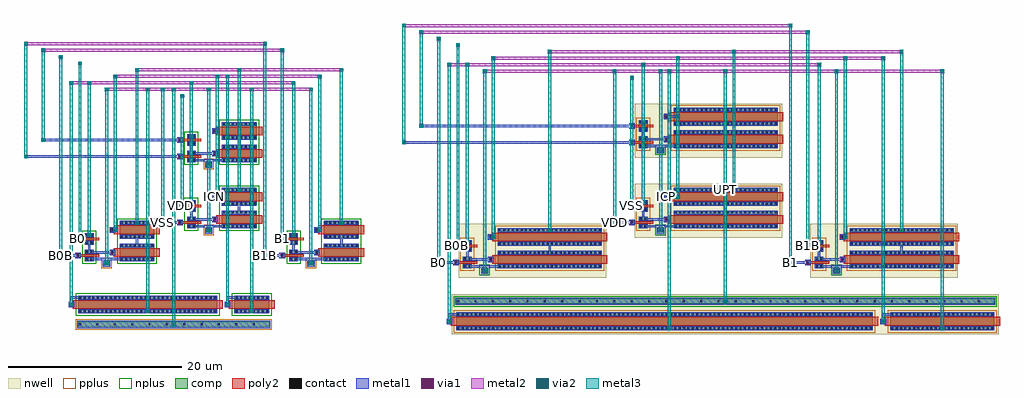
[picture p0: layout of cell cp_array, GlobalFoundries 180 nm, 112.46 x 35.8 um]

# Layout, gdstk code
import gdstk
lib = gdstk.Library(unit=1e-6, precision=1e-09)
def R(c, l, rs):  # rectangles x0, y0, x1, y1
    for r in rs: c.add(gdstk.rectangle(r[:2], r[2:], *l))
def A(c, l, x, y, w, h, nx, ny, dx, dy):  # array of equal rectangles
    R(c, l, [(x+i*dx, y+j*dy, x+i*dx+w, y+j*dy+h) for i in range(nx) for j in range(ny)])
nwell = (21, 0)
comp = (22, 0)
poly2 = (30, 0)
pplus = (31, 0)
nplus = (32, 0)
contact = (33, 0)
metal1 = (34, 0)
via1 = (35, 0)
metal2 = (36, 0)
via2 = (38, 0)
metal3 = (42, 0)

cp_array = lib.new_cell('cp_array')
R(cp_array, nwell, [(30.52,-12.245,93.52,-7.645), (31.29,-5.745,48.29,0.485), (71.83,-5.745,88.83,0.485), (51.56,-1.13,68.56,5.1), (51.56,8.1,68.56,14.33)])
R(cp_array, comp, [(31.02,-11.745,79.02,-9.745), (81.02,-11.745,93.02,-9.745), (-12.54,-11.4,9.46,-10.8), (-12.54,-9.8,3.46,-7.8), (5.46,-9.8,9.46,-7.8), (31.02,-8.745,93.02,-8.145), (33.99,-5.125,34.59,-4.525), (74.53,-5.125,75.13,-4.525), (31.79,-4.615,32.79,-3.315), (35.79,-4.615,47.79,-2.615), (72.33,-4.615,73.33,-3.315), (76.33,-4.615,88.33,-2.615), (-9.57,-4.31,-8.97,-3.71), (13.97,-4.31,14.57,-3.71), (-11.77,-3.8,-10.77,-2.5), (-7.77,-3.8,-3.77,-1.8), (11.77,-3.8,12.77,-2.5), (15.77,-3.8,19.77,-1.8), (31.79,-2.715,32.79,-1.415), (72.33,-2.715,73.33,-1.415), (35.79,-2.015,47.79,-0.015), (76.33,-2.015,88.33,-0.015), (-11.77,-1.9,-10.77,-0.6), (11.77,-1.9,12.77,-0.6), (-7.77,-1.2,-3.77,0.8), (15.77,-1.2,19.77,0.8), (2.2,-0.51,2.8,0.09), (54.26,-0.51,54.86,0.09), (0,0,1,1.3), (4,0,8,2), (52.06,0,53.06,1.3), (56.06,0,68.06,2), (0,1.9,1,3.2), (52.06,1.9,53.06,3.2), (4,2.6,8,4.6), (56.06,2.6,68.06,4.6), (2.2,7.09,2.8,7.69), (0,7.6,1,8.9), (4,7.6,8,9.6), (54.26,8.72,54.86,9.32), (52.06,9.23,53.06,10.53), (56.06,9.23,68.06,11.23), (0,9.5,1,10.8), (4,10.2,8,12.2), (52.06,11.13,53.06,12.43), (56.06,11.83,68.06,13.83)])
R(cp_array, poly2, [(30.37,-11.245,79.67,-10.245), (80.37,-11.245,93.67,-10.245), (30.02,-10.945,30.42,-10.545), (80.02,-10.945,80.42,-10.545), (-13.19,-9.3,4.11,-8.3), (4.81,-9.3,10.11,-8.3), (-13.54,-9,-13.14,-8.6), (4.46,-9,4.86,-8.6), (30.79,-4.165,31.19,-3.765), (71.33,-4.165,71.73,-3.765), (31.14,-4.115,33.44,-3.815), (35.14,-4.115,48.44,-3.115), (71.68,-4.115,73.98,-3.815), (75.68,-4.115,88.98,-3.115), (34.79,-3.815,35.19,-3.415), (75.33,-3.815,75.73,-3.415), (-12.77,-3.35,-12.37,-2.95), (10.77,-3.35,11.17,-2.95), (-12.42,-3.3,-10.12,-3), (-8.42,-3.3,-3.12,-2.3), (11.12,-3.3,13.42,-3), (15.12,-3.3,20.42,-2.3), (-8.77,-3,-8.37,-2.6), (14.77,-3,15.17,-2.6), (30.79,-2.265,31.19,-1.865), (71.33,-2.265,71.73,-1.865), (31.14,-2.215,33.44,-1.915), (71.68,-2.215,73.98,-1.915), (35.14,-1.515,48.44,-0.515), (75.68,-1.515,88.98,-0.515), (-12.77,-1.45,-12.37,-1.05), (10.77,-1.45,11.17,-1.05), (-12.42,-1.4,-10.12,-1.1), (11.12,-1.4,13.42,-1.1), (34.79,-1.215,35.19,-0.815), (75.33,-1.215,75.73,-0.815), (-8.42,-0.7,-3.12,0.3), (15.12,-0.7,20.42,0.3), (-8.77,-0.4,-8.37,0), (14.77,-0.4,15.17,0), (-1,0.45,-0.6,0.85), (51.06,0.45,51.46,0.85), (-0.65,0.5,1.65,0.8), (3.35,0.5,8.65,1.5), (51.41,0.5,53.71,0.8), (55.41,0.5,68.71,1.5), (3,0.8,3.4,1.2), (55.06,0.8,55.46,1.2), (-1,2.35,-0.6,2.75), (51.06,2.35,51.46,2.75), (-0.65,2.4,1.65,2.7), (51.41,2.4,53.71,2.7), (3.35,3.1,8.65,4.1), (55.41,3.1,68.71,4.1), (3,3.4,3.4,3.8), (55.06,3.4,55.46,3.8), (-1,8.05,-0.6,8.45), (-0.65,8.1,1.65,8.4), (3.35,8.1,8.65,9.1), (3,8.4,3.4,8.8), (51.06,9.68,51.46,10.08), (51.41,9.73,53.71,10.03), (55.41,9.73,68.71,10.73), (-1,9.95,-0.6,10.35), (-0.65,10,1.65,10.3), (55.06,10.03,55.46,10.43), (3.35,10.7,8.65,11.7), (3,11,3.4,11.4), (51.06,11.58,51.46,11.98), (51.41,11.63,53.71,11.93), (55.41,12.33,68.71,13.33), (55.06,12.63,55.46,13.03)])
R(cp_array, pplus, [(30.72,-12.045,79.32,-9.445), (80.72,-12.045,93.32,-9.445), (-12.84,-11.7,9.76,-10.5), (31.49,-4.915,33.09,-3.015), (35.49,-4.915,48.09,-2.315), (72.03,-4.915,73.63,-3.015), (76.03,-4.915,88.63,-2.315), (-9.87,-4.61,-8.67,-3.41), (13.67,-4.61,14.87,-3.41), (31.49,-3.015,33.09,-1.115), (72.03,-3.015,73.63,-1.115), (35.49,-2.315,48.09,0.285), (76.03,-2.315,88.63,0.285), (1.9,-0.81,3.1,0.39), (51.76,-0.3,53.36,1.6), (55.76,-0.3,68.36,2.3), (51.76,1.6,53.36,3.5), (55.76,2.3,68.36,4.9), (1.9,6.79,3.1,7.99), (51.76,8.93,53.36,10.83), (55.76,8.93,68.36,11.53), (51.76,10.83,53.36,12.73), (55.76,11.53,68.36,14.13)])
R(cp_array, nplus, [(-12.84,-10.1,3.76,-7.5), (5.16,-10.1,9.76,-7.5), (30.72,-9.045,93.32,-7.845), (33.69,-5.425,34.89,-4.225), (74.23,-5.425,75.43,-4.225), (-12.07,-4.1,-10.47,-2.2), (-8.07,-4.1,-3.47,-1.5), (11.47,-4.1,13.07,-2.2), (15.47,-4.1,20.07,-1.5), (-12.07,-2.2,-10.47,-0.3), (11.47,-2.2,13.07,-0.3), (-8.07,-1.5,-3.47,1.1), (15.47,-1.5,20.07,1.1), (53.96,-0.81,55.16,0.39), (-0.3,-0.3,1.3,1.6), (3.7,-0.3,8.3,2.3), (-0.3,1.6,1.3,3.5), (3.7,2.3,8.3,4.9), (-0.3,7.3,1.3,9.2), (3.7,7.3,8.3,9.9), (53.96,8.42,55.16,9.62), (-0.3,9.2,1.3,11.1), (3.7,9.9,8.3,12.5)])
A(cp_array, contact, 31.16, -11.645, 0.22, 0.22, 96, 2, 0.5, 1.58)
A(cp_array, contact, 81.16, -11.645, 0.22, 0.22, 24, 2, 0.5, 1.58)
A(cp_array, contact, -12.44, -11.21, 0.22, 0.22, 11, 1, 2, 0)
A(cp_array, contact, -12.4, -9.7, 0.22, 0.22, 32, 2, 0.5, 1.58)
A(cp_array, contact, 5.6, -9.7, 0.22, 0.22, 8, 2, 0.5, 1.58)
A(cp_array, contact, 31.12, -8.555, 0.22, 0.22, 31, 1, 2, 0)
A(cp_array, contact, 35.93, -4.515, 0.22, 0.22, 24, 2, 0.5, 1.58)
A(cp_array, contact, 76.47, -4.515, 0.22, 0.22, 24, 2, 0.5, 1.58)
A(cp_array, contact, -7.63, -3.7, 0.22, 0.22, 8, 2, 0.5, 1.58)
A(cp_array, contact, 15.91, -3.7, 0.22, 0.22, 8, 2, 0.5, 1.58)
A(cp_array, contact, 35.93, -1.915, 0.22, 0.22, 24, 2, 0.5, 1.58)
A(cp_array, contact, 76.47, -1.915, 0.22, 0.22, 24, 2, 0.5, 1.58)
A(cp_array, contact, -7.63, -1.1, 0.22, 0.22, 8, 2, 0.5, 1.58)
A(cp_array, contact, 15.91, -1.1, 0.22, 0.22, 8, 2, 0.5, 1.58)
A(cp_array, contact, 4.14, 0.1, 0.22, 0.22, 8, 2, 0.5, 1.58)
A(cp_array, contact, 56.2, 0.1, 0.22, 0.22, 24, 2, 0.5, 1.58)
A(cp_array, contact, 4.14, 2.7, 0.22, 0.22, 8, 2, 0.5, 1.58)
A(cp_array, contact, 56.2, 2.7, 0.22, 0.22, 24, 2, 0.5, 1.58)
A(cp_array, contact, 4.14, 7.7, 0.22, 0.22, 8, 2, 0.5, 1.58)
A(cp_array, contact, 56.2, 9.33, 0.22, 0.22, 24, 2, 0.5, 1.58)
A(cp_array, contact, 4.14, 10.3, 0.22, 0.22, 8, 2, 0.5, 1.58)
A(cp_array, contact, 56.2, 11.93, 0.22, 0.22, 24, 2, 0.5, 1.58)
R(cp_array, contact, [(30.11,-10.855,30.33,-10.635), (80.11,-10.855,80.33,-10.635), (-13.45,-8.91,-13.23,-8.69), (4.55,-8.91,4.77,-8.69), (34.18,-4.935,34.4,-4.715), (74.72,-4.935,74.94,-4.715), (31.93,-4.515,32.15,-4.295), (32.43,-4.515,32.65,-4.295), (72.47,-4.515,72.69,-4.295), (72.97,-4.515,73.19,-4.295), (-9.38,-4.12,-9.16,-3.9), (14.16,-4.12,14.38,-3.9), (30.88,-4.075,31.1,-3.855), (71.42,-4.075,71.64,-3.855), (34.88,-3.725,35.1,-3.505), (75.42,-3.725,75.64,-3.505), (-11.63,-3.7,-11.41,-3.48), (-11.13,-3.7,-10.91,-3.48), (11.91,-3.7,12.13,-3.48), (12.41,-3.7,12.63,-3.48), (31.93,-3.635,32.15,-3.415), (32.43,-3.635,32.65,-3.415), (72.47,-3.635,72.69,-3.415), (72.97,-3.635,73.19,-3.415), (-12.68,-3.26,-12.46,-3.04), (10.86,-3.26,11.08,-3.04), (-8.68,-2.91,-8.46,-2.69), (14.86,-2.91,15.08,-2.69), (-11.63,-2.82,-11.41,-2.6), (-11.13,-2.82,-10.91,-2.6), (11.91,-2.82,12.13,-2.6), (12.41,-2.82,12.63,-2.6), (31.93,-2.615,32.15,-2.395), (32.43,-2.615,32.65,-2.395), (72.47,-2.615,72.69,-2.395), (72.97,-2.615,73.19,-2.395), (30.88,-2.175,31.1,-1.955), (71.42,-2.175,71.64,-1.955), (-11.63,-1.8,-11.41,-1.58), (-11.13,-1.8,-10.91,-1.58), (11.91,-1.8,12.13,-1.58), (12.41,-1.8,12.63,-1.58), (31.93,-1.735,32.15,-1.515), (32.43,-1.735,32.65,-1.515), (72.47,-1.735,72.69,-1.515), (72.97,-1.735,73.19,-1.515), (-12.68,-1.36,-12.46,-1.14), (10.86,-1.36,11.08,-1.14), (34.88,-1.125,35.1,-0.905), (75.42,-1.125,75.64,-0.905), (-11.63,-0.92,-11.41,-0.7), (-11.13,-0.92,-10.91,-0.7), (11.91,-0.92,12.13,-0.7), (12.41,-0.92,12.63,-0.7), (2.39,-0.32,2.61,-0.1), (54.45,-0.32,54.67,-0.1), (-8.68,-0.31,-8.46,-0.09), (14.86,-0.31,15.08,-0.09), (0.14,0.1,0.36,0.32), (0.64,0.1,0.86,0.32), (52.2,0.1,52.42,0.32), (52.7,0.1,52.92,0.32), (-0.91,0.54,-0.69,0.76), (51.15,0.54,51.37,0.76), (3.09,0.89,3.31,1.11), (55.15,0.89,55.37,1.11), (0.14,0.98,0.36,1.2), (0.64,0.98,0.86,1.2), (52.2,0.98,52.42,1.2), (52.7,0.98,52.92,1.2), (0.14,2,0.36,2.22), (0.64,2,0.86,2.22), (52.2,2,52.42,2.22), (52.7,2,52.92,2.22), (-0.91,2.44,-0.69,2.66), (51.15,2.44,51.37,2.66), (0.14,2.88,0.36,3.1), (0.64,2.88,0.86,3.1), (52.2,2.88,52.42,3.1), (52.7,2.88,52.92,3.1), (3.09,3.49,3.31,3.71), (55.15,3.49,55.37,3.71), (2.39,7.28,2.61,7.5), (0.14,7.7,0.36,7.92), (0.64,7.7,0.86,7.92), (-0.91,8.14,-0.69,8.36), (3.09,8.49,3.31,8.71), (0.14,8.58,0.36,8.8), (0.64,8.58,0.86,8.8), (54.45,8.91,54.67,9.13), (52.2,9.33,52.42,9.55), (52.7,9.33,52.92,9.55), (0.14,9.6,0.36,9.82), (0.64,9.6,0.86,9.82), (51.15,9.77,51.37,9.99), (-0.91,10.04,-0.69,10.26), (55.15,10.12,55.37,10.34), (52.2,10.21,52.42,10.43), (52.7,10.21,52.92,10.43), (0.14,10.48,0.36,10.7), (0.64,10.48,0.86,10.7), (3.09,11.09,3.31,11.31), (52.2,11.23,52.42,11.45), (52.7,11.23,52.92,11.45), (51.15,11.67,51.37,11.89), (52.2,12.11,52.42,12.33), (52.7,12.11,52.92,12.33), (55.15,12.72,55.37,12.94)])
R(cp_array, metal1, [(31.04,-11.765,79,-11.305), (81.04,-11.765,93,-11.305), (55.34,-11.755,55.78,-11.315), (86.8,-11.755,87.24,-11.315), (55.02,-11.675,55.56,-11.395), (-12.66,-11.52,9.58,-10.68), (-1.76,-11.32,-1.32,-10.88), (29.9,-11.065,30.54,-10.425), (79.9,-11.065,80.54,-10.425), (30,-10.965,30.44,-10.525), (80,-10.965,80.44,-10.525), (30.08,-10.745,30.36,-9.815), (80.08,-10.745,80.36,-9.815), (31.04,-10.185,79,-9.725), (81.04,-10.185,93,-9.725), (30.08,-10.095,31.32,-9.815), (80.08,-10.095,81.32,-9.815), (-12.52,-9.82,3.44,-9.36), (5.48,-9.82,9.44,-9.36), (-4.76,-9.81,-4.32,-9.37), (7.24,-9.81,7.68,-9.37), (-13.66,-9.12,-13.02,-8.48), (4.34,-9.12,4.98,-8.48), (-13.56,-9.02,-13.12,-8.58), (4.44,-9.02,4.88,-8.58), (30.9,-8.865,93.14,-8.025), (-13.48,-8.8,-13.2,-7.87), (4.52,-8.8,4.8,-7.87), (61.8,-8.665,62.24,-8.225), (-12.52,-8.24,3.44,-7.78), (5.48,-8.24,9.44,-7.78), (-13.48,-8.15,-12.24,-7.87), (4.52,-8.15,5.76,-7.87), (33.87,-5.245,34.71,-4.405), (74.41,-5.245,75.25,-4.405), (34.07,-5.045,34.51,-4.605), (74.61,-5.045,75.05,-4.605), (31.81,-4.635,32.77,-4.175), (35.81,-4.635,47.77,-4.175), (72.35,-4.635,73.31,-4.175), (76.35,-4.635,88.31,-4.175), (32.77,-4.545,35.81,-4.265), (73.31,-4.545,76.35,-4.265), (-9.69,-4.43,-8.85,-3.59), (13.85,-4.43,14.69,-3.59), (30.67,-4.285,31.31,-3.645), (71.21,-4.285,71.85,-3.645), (-9.49,-4.23,-9.05,-3.79), (14.05,-4.23,14.49,-3.79), (28.77,-4.185,29.21,-3.745), (28.77,-4.185,29.21,-3.745), (69.31,-4.185,69.75,-3.745), (69.31,-4.185,69.75,-3.745), (28.99,-4.105,30.99,-3.825), (69.53,-4.105,71.53,-3.825), (34.67,-3.935,35.31,-3.295), (75.21,-3.935,75.85,-3.295), (-11.75,-3.82,-10.79,-3.36), (-7.75,-3.82,-3.79,-3.36), (11.79,-3.82,12.75,-3.36), (15.79,-3.82,19.75,-3.36), (31.81,-3.755,32.77,-3.295), (32.77,-3.755,35.31,-3.475), (72.35,-3.755,73.31,-3.295), (73.31,-3.755,75.85,-3.475), (-10.79,-3.73,-7.75,-3.45), (12.75,-3.73,15.79,-3.45), (-12.89,-3.47,-12.25,-2.83), (10.65,-3.47,11.29,-2.83), (-14.79,-3.37,-14.35,-2.93), (-14.79,-3.37,-14.35,-2.93), (8.75,-3.37,9.19,-2.93), (8.75,-3.37,9.19,-2.93), (32.15,-3.295,32.43,-2.735), (72.69,-3.295,72.97,-2.735), (-14.57,-3.29,-12.57,-3.01), (8.97,-3.29,10.97,-3.01), (-8.89,-3.12,-8.25,-2.48), (14.65,-3.12,15.29,-2.48), (35.81,-3.055,47.77,-2.595), (76.35,-3.055,88.31,-2.595), (-11.75,-2.94,-10.79,-2.48), (-10.79,-2.94,-8.25,-2.66), (11.79,-2.94,12.75,-2.48), (12.75,-2.94,15.29,-2.66), (31.81,-2.735,32.77,-2.275), (72.35,-2.735,73.31,-2.275), (41.65,-2.595,41.93,-2.035), (82.19,-2.595,82.47,-2.035), (-11.41,-2.48,-11.13,-1.92), (12.13,-2.48,12.41,-1.92), (30.67,-2.385,31.31,-1.745), (71.21,-2.385,71.85,-1.745), (31,-2.285,31.44,-1.845), (71.31,-2.285,71.75,-1.845), (-7.75,-2.24,-3.79,-1.78), (15.79,-2.24,19.75,-1.78), (30.99,-2.205,31.22,-1.925), (35.81,-2.035,47.77,-1.575), (76.35,-2.035,88.31,-1.575), (-11.75,-1.92,-10.79,-1.46), (11.79,-1.92,12.75,-1.46), (31.81,-1.855,32.77,-1.395), (72.35,-1.855,73.31,-1.395), (32.07,-1.845,32.51,-1.405), (72.61,-1.845,73.05,-1.405), (-5.91,-1.78,-5.63,-1.22), (17.63,-1.78,17.91,-1.22), (-12.89,-1.57,-12.25,-0.93), (10.65,-1.57,11.29,-0.93), (-12.56,-1.47,-12.12,-1.03), (10.75,-1.47,11.19,-1.03), (-12.57,-1.39,-12.34,-1.11), (34.67,-1.335,35.31,-0.695), (75.21,-1.335,75.85,-0.695), (35.07,-1.235,35.51,-0.795), (75.61,-1.235,76.05,-0.795), (-7.75,-1.22,-3.79,-0.76), (15.79,-1.22,19.75,-0.76), (34.99,-1.155,35.29,-0.875), (75.53,-1.155,75.83,-0.875), (-11.75,-1.04,-10.79,-0.58), (11.79,-1.04,12.75,-0.58), (-11.49,-1.03,-11.05,-0.59), (12.05,-1.03,12.49,-0.59), (2.08,-0.63,2.92,0.21), (54.14,-0.63,54.98,0.21), (-8.89,-0.52,-8.25,0.12), (14.65,-0.52,15.29,0.12), (35.81,-0.455,47.77,0.005), (76.35,-0.455,88.31,0.005), (41.57,-0.445,42.01,-0.005), (82.11,-0.445,82.55,-0.005), (2.28,-0.43,2.72,0.01), (54.34,-0.43,54.78,0.01), (-8.49,-0.42,-8.05,0.02), (15.05,-0.42,15.49,0.02), (-8.57,-0.34,-8.27,-0.06), (14.97,-0.34,15.27,-0.06), (0.02,-0.02,0.98,0.44), (4.02,-0.02,7.98,0.44), (52.08,-0.02,53.04,0.44), (56.08,-0.02,68.04,0.44), (0.98,0.07,4.02,0.35), (53.04,0.07,56.08,0.35), (-1.12,0.33,-0.48,0.97), (50.94,0.33,51.58,0.97), (-7.75,0.36,-3.79,0.82), (15.79,0.36,19.75,0.82), (-5.99,0.37,-5.55,0.81), (17.55,0.37,17.99,0.81), (-3.02,0.43,-2.58,0.87), (-3.02,0.43,-2.58,0.87), (49.04,0.43,49.48,0.87), (49.04,0.43,49.48,0.87), (-2.8,0.51,-0.8,0.79), (49.26,0.51,51.26,0.79), (2.88,0.68,3.52,1.32), (54.94,0.68,55.58,1.32), (0.02,0.86,0.98,1.32), (0.98,0.86,3.52,1.14), (52.08,0.86,53.04,1.32), (53.04,0.86,55.58,1.14), (0.36,1.32,0.64,1.88), (52.42,1.32,52.7,1.88), (4.02,1.56,7.98,2.02), (56.08,1.56,68.04,2.02), (0.02,1.88,0.98,2.34), (52.08,1.88,53.04,2.34), (5.86,2.02,6.14,2.58), (61.92,2.02,62.2,2.58), (-1.12,2.23,-0.48,2.87), (50.94,2.23,51.58,2.87), (-0.76,2.33,-0.32,2.77), (51.04,2.33,51.48,2.77), (-0.8,2.41,-0.54,2.69), (4.02,2.58,7.98,3.04), (56.08,2.58,68.04,3.04), (0.02,2.76,0.98,3.22), (52.08,2.76,53.04,3.22), (0.28,2.77,0.72,3.21), (52.34,2.77,52.78,3.21), (2.88,3.28,3.52,3.92), (54.94,3.28,55.58,3.92), (3.28,3.38,3.72,3.82), (56.34,3.38,56.78,3.82), (3.2,3.46,3.5,3.74), (55.26,3.46,56.56,3.74), (4.02,4.16,7.98,4.62), (56.08,4.16,68.04,4.62), (5.78,4.17,6.22,4.61), (62.8,4.17,63.24,4.61), (62.06,4.25,63.02,4.53), (2.08,6.97,2.92,7.81), (2.28,7.17,2.72,7.61), (0.02,7.58,0.98,8.04), (4.02,7.58,7.98,8.04), (0.98,7.67,4.02,7.95), (-1.12,7.93,-0.48,8.57), (-18.79,8.03,-18.35,8.47), (-18.79,8.03,-18.35,8.47), (-18.57,8.11,-0.8,8.39), (2.88,8.28,3.52,8.92), (0.02,8.46,0.98,8.92), (0.98,8.46,3.52,8.74), (54.14,8.6,54.98,9.44), (54.34,8.8,54.78,9.24), (0.36,8.92,0.64,9.48), (4.02,9.16,7.98,9.62), (52.08,9.21,53.04,9.67), (56.08,9.21,68.04,9.67), (53.04,9.3,56.08,9.58), (0.02,9.48,0.98,9.94), (50.94,9.56,51.58,10.2), (5.86,9.62,6.14,10.18), (24.77,9.66,25.21,10.1), (24.77,9.66,25.21,10.1), (24.99,9.74,51.26,10.02), (-1.12,9.83,-0.48,10.47), (54.94,9.91,55.58,10.55), (-16.79,9.93,-16.35,10.37), (-16.79,9.93,-16.35,10.37), (-16.57,10.01,-0.8,10.29), (52.08,10.09,53.04,10.55), (53.04,10.09,55.58,10.37), (4.02,10.18,7.98,10.64), (0.02,10.36,0.98,10.82), (0.28,10.37,0.72,10.81), (52.42,10.55,52.7,11.11), (56.08,10.79,68.04,11.25), (2.88,10.88,3.52,11.52), (3.28,10.98,3.72,11.42), (3.2,11.06,3.5,11.34), (52.08,11.11,53.04,11.57), (61.92,11.25,62.2,11.81), (50.94,11.46,51.58,12.1), (26.77,11.56,27.21,12), (26.77,11.56,27.21,12), (26.99,11.64,51.26,11.92), (4.02,11.76,7.98,12.22), (5.78,11.77,6.22,12.21), (56.08,11.81,68.04,12.27), (52.08,11.99,53.04,12.45), (52.34,12,52.78,12.44), (54.94,12.51,55.58,13.15), (56.34,12.61,56.78,13.05), (55.26,12.69,56.56,12.97), (56.08,13.39,68.04,13.85), (62.8,13.4,63.24,13.84), (62.06,13.48,63.02,13.76)])
R(cp_array, via1, [(55.43,-11.665,55.69,-11.405), (86.89,-11.665,87.15,-11.405), (-1.67,-11.23,-1.41,-10.97), (30.09,-10.875,30.35,-10.615), (80.09,-10.875,80.35,-10.615), (-4.67,-9.72,-4.41,-9.46), (7.33,-9.72,7.59,-9.46), (-13.47,-8.93,-13.21,-8.67), (4.53,-8.93,4.79,-8.67), (61.89,-8.575,62.15,-8.315), (34.16,-4.955,34.42,-4.695), (74.7,-4.955,74.96,-4.695), (-9.4,-4.14,-9.14,-3.88), (14.14,-4.14,14.4,-3.88), (28.86,-4.095,29.12,-3.835), (69.4,-4.095,69.66,-3.835), (-14.7,-3.28,-14.44,-3.02), (8.84,-3.28,9.1,-3.02), (31.09,-2.195,31.35,-1.935), (71.4,-2.195,71.66,-1.935), (32.16,-1.755,32.42,-1.495), (72.7,-1.755,72.96,-1.495), (-12.47,-1.38,-12.21,-1.12), (10.84,-1.38,11.1,-1.12), (35.16,-1.145,35.42,-0.885), (75.7,-1.145,75.96,-0.885), (-11.4,-0.94,-11.14,-0.68), (12.14,-0.94,12.4,-0.68), (41.66,-0.355,41.92,-0.095), (82.2,-0.355,82.46,-0.095), (2.37,-0.34,2.63,-0.08), (54.43,-0.34,54.69,-0.08), (-8.4,-0.33,-8.14,-0.07), (15.14,-0.33,15.4,-0.07), (-5.9,0.46,-5.64,0.72), (17.64,0.46,17.9,0.72), (-2.93,0.52,-2.67,0.78), (49.13,0.52,49.39,0.78), (-0.67,2.42,-0.41,2.68), (51.13,2.42,51.39,2.68), (0.37,2.86,0.63,3.12), (52.43,2.86,52.69,3.12), (3.37,3.47,3.63,3.73), (56.43,3.47,56.69,3.73), (5.87,4.26,6.13,4.52), (62.89,4.26,63.15,4.52), (2.37,7.26,2.63,7.52), (-18.7,8.12,-18.44,8.38), (54.43,8.89,54.69,9.15), (24.86,9.75,25.12,10.01), (-16.7,10.02,-16.44,10.28), (0.37,10.46,0.63,10.72), (3.37,11.07,3.63,11.33), (26.86,11.65,27.12,11.91), (5.87,11.86,6.13,12.12), (52.43,12.09,52.69,12.35), (56.43,12.7,56.69,12.96), (62.89,13.49,63.15,13.75)])
R(cp_array, metal2, [(55.34,-11.755,55.78,-11.315), (86.8,-11.755,87.24,-11.315), (-1.76,-11.32,-1.32,-10.88), (30,-10.965,30.44,-10.525), (80,-10.965,80.44,-10.525), (-4.76,-9.81,-4.32,-9.37), (7.24,-9.81,7.68,-9.37), (-13.56,-9.02,-13.12,-8.58), (4.44,-9.02,4.88,-8.58), (61.8,-8.665,62.24,-8.225), (34.07,-5.045,34.51,-4.605), (74.61,-5.045,75.05,-4.605), (-9.49,-4.23,-9.05,-3.79), (14.05,-4.23,14.49,-3.79), (28.77,-4.185,29.21,-3.745), (69.31,-4.185,69.75,-3.745), (-14.79,-3.37,-14.35,-2.93), (8.75,-3.37,9.19,-2.93), (31,-2.285,31.44,-1.845), (71.31,-2.285,71.75,-1.845), (32.07,-1.845,32.51,-1.405), (72.61,-1.845,73.05,-1.405), (-12.56,-1.47,-12.12,-1.03), (10.75,-1.47,11.19,-1.03), (35.07,-1.235,35.51,-0.795), (75.61,-1.235,76.05,-0.795), (-11.49,-1.03,-11.05,-0.59), (12.05,-1.03,12.49,-0.59), (41.57,-0.445,42.01,-0.005), (82.11,-0.445,82.55,-0.005), (2.28,-0.43,2.72,0.01), (54.34,-0.43,54.78,0.01), (-8.49,-0.42,-8.05,0.02), (15.05,-0.42,15.49,0.02), (-5.99,0.37,-5.55,0.81), (17.55,0.37,17.99,0.81), (-3.02,0.43,-2.58,0.87), (49.04,0.43,49.48,0.87), (-0.76,2.33,-0.32,2.77), (51.04,2.33,51.48,2.77), (0.28,2.77,0.72,3.21), (52.34,2.77,52.78,3.21), (3.28,3.38,3.72,3.82), (56.34,3.38,56.78,3.82), (5.78,4.17,6.22,4.61), (62.8,4.17,63.24,4.61), (2.28,7.17,2.72,7.61), (-18.79,8.03,-18.35,8.47), (54.34,8.8,54.78,9.24), (24.77,9.66,25.21,10.1), (-16.79,9.93,-16.35,10.37), (0.28,10.37,0.72,10.81), (3.28,10.98,3.72,11.42), (26.77,11.56,27.21,12), (5.78,11.77,6.22,12.21), (52.34,12,52.78,12.44), (56.34,12.61,56.78,13.05), (62.8,13.4,63.24,13.84), (-0.76,15,-0.32,15.44), (-9.49,15.75,-9.05,16.19), (-4.76,15.75,-4.32,16.19), (-3.02,15.75,-2.58,16.19), (-1.76,15.75,-1.32,16.19), (2.28,15.75,2.72,16.19), (2.28,15.75,2.72,16.19), (7.24,15.75,7.68,16.19), (14.05,15.75,14.49,16.19), (-9.44,15.8,14.44,16.14), (-13.56,16.5,-13.12,16.94), (-11.49,16.5,-11.05,16.94), (0.28,16.5,0.72,16.94), (0.28,16.5,0.72,16.94), (12.05,16.5,12.49,16.94), (-13.51,16.55,12.44,16.89), (51.04,17.11,51.48,17.55), (-8.49,17.25,-8.05,17.69), (3.28,17.25,3.72,17.69), (3.28,17.25,3.72,17.69), (4.44,17.25,4.88,17.69), (15.05,17.25,15.49,17.69), (-8.44,17.3,15.44,17.64), (34.07,17.86,34.51,18.3), (49.04,17.86,49.48,18.3), (54.34,17.86,54.78,18.3), (54.34,17.86,54.78,18.3), (55.34,17.86,55.78,18.3), (61.8,17.86,62.24,18.3), (74.61,17.86,75.05,18.3), (86.8,17.86,87.24,18.3), (34.12,17.91,87.19,18.25), (-5.99,18,-5.55,18.44), (5.78,18,6.22,18.44), (5.78,18,6.22,18.44), (17.55,18,17.99,18.44), (-5.94,18.05,17.94,18.39), (30,18.61,30.44,19.05), (32.07,18.61,32.51,19.05), (52.34,18.61,52.78,19.05), (52.34,18.61,52.78,19.05), (72.61,18.61,73.05,19.05), (30.05,18.66,73,19), (-12.56,18.75,-12.12,19.19), (35.07,19.36,35.51,19.8), (56.34,19.36,56.78,19.8), (56.34,19.36,56.78,19.8), (75.61,19.36,76.05,19.8), (80,19.36,80.44,19.8), (35.12,19.41,80.39,19.75), (-14.79,19.5,-14.35,19.94), (41.57,20.11,42.01,20.55), (62.8,20.11,63.24,20.55), (62.8,20.11,63.24,20.55), (82.11,20.11,82.55,20.55), (41.62,20.16,82.5,20.5), (-16.79,20.25,-16.35,20.69), (10.75,20.25,11.19,20.69), (-16.74,20.3,11.14,20.64), (31,20.86,31.44,21.3), (-18.79,21,-18.35,21.44), (8.75,21,9.19,21.44), (-18.74,21.05,9.14,21.39), (28.77,21.61,29.21,22.05), (26.77,22.36,27.21,22.8), (71.31,22.36,71.75,22.8), (26.82,22.41,71.7,22.75), (24.77,23.11,25.21,23.55), (69.31,23.11,69.75,23.55), (24.82,23.16,69.7,23.5)])
R(cp_array, via2, [(55.43,-11.665,55.69,-11.405), (86.89,-11.665,87.15,-11.405), (-1.67,-11.23,-1.41,-10.97), (30.09,-10.875,30.35,-10.615), (80.09,-10.875,80.35,-10.615), (-4.67,-9.72,-4.41,-9.46), (7.33,-9.72,7.59,-9.46), (-13.47,-8.93,-13.21,-8.67), (4.53,-8.93,4.79,-8.67), (61.89,-8.575,62.15,-8.315), (34.16,-4.955,34.42,-4.695), (74.7,-4.955,74.96,-4.695), (-9.4,-4.14,-9.14,-3.88), (14.14,-4.14,14.4,-3.88), (28.86,-4.095,29.12,-3.835), (69.4,-4.095,69.66,-3.835), (-14.7,-3.28,-14.44,-3.02), (8.84,-3.28,9.1,-3.02), (31.09,-2.195,31.35,-1.935), (71.4,-2.195,71.66,-1.935), (32.16,-1.755,32.42,-1.495), (72.7,-1.755,72.96,-1.495), (-12.47,-1.38,-12.21,-1.12), (10.84,-1.38,11.1,-1.12), (35.16,-1.145,35.42,-0.885), (75.7,-1.145,75.96,-0.885), (-11.4,-0.94,-11.14,-0.68), (12.14,-0.94,12.4,-0.68), (41.66,-0.355,41.92,-0.095), (82.2,-0.355,82.46,-0.095), (2.37,-0.34,2.63,-0.08), (54.43,-0.34,54.69,-0.08), (-8.4,-0.33,-8.14,-0.07), (15.14,-0.33,15.4,-0.07), (-5.9,0.46,-5.64,0.72), (17.64,0.46,17.9,0.72), (-2.93,0.52,-2.67,0.78), (49.13,0.52,49.39,0.78), (-0.67,2.42,-0.41,2.68), (51.13,2.42,51.39,2.68), (0.37,2.86,0.63,3.12), (52.43,2.86,52.69,3.12), (3.37,3.47,3.63,3.73), (56.43,3.47,56.69,3.73), (5.87,4.26,6.13,4.52), (62.89,4.26,63.15,4.52), (2.37,7.26,2.63,7.52), (-18.7,8.12,-18.44,8.38), (54.43,8.89,54.69,9.15), (24.86,9.75,25.12,10.01), (-16.7,10.02,-16.44,10.28), (0.37,10.46,0.63,10.72), (3.37,11.07,3.63,11.33), (26.86,11.65,27.12,11.91), (5.87,11.86,6.13,12.12), (52.43,12.09,52.69,12.35), (56.43,12.7,56.69,12.96), (62.89,13.49,63.15,13.75), (-0.67,15.09,-0.41,15.35), (-9.4,15.84,-9.14,16.1), (-4.67,15.84,-4.41,16.1), (-2.93,15.84,-2.67,16.1), (-1.67,15.84,-1.41,16.1), (2.37,15.84,2.63,16.1), (2.37,15.84,2.63,16.1), (7.33,15.84,7.59,16.1), (14.14,15.84,14.4,16.1), (-13.47,16.59,-13.21,16.85), (-11.4,16.59,-11.14,16.85), (0.37,16.59,0.63,16.85), (0.37,16.59,0.63,16.85), (12.14,16.59,12.4,16.85), (51.13,17.2,51.39,17.46), (-8.4,17.34,-8.14,17.6), (3.37,17.34,3.63,17.6), (3.37,17.34,3.63,17.6), (4.53,17.34,4.79,17.6), (15.14,17.34,15.4,17.6), (34.16,17.95,34.42,18.21), (49.13,17.95,49.39,18.21), (54.43,17.95,54.69,18.21), (54.43,17.95,54.69,18.21), (55.43,17.95,55.69,18.21), (61.89,17.95,62.15,18.21), (74.7,17.95,74.96,18.21), (86.89,17.95,87.15,18.21), (-5.9,18.09,-5.64,18.35), (5.87,18.09,6.13,18.35), (5.87,18.09,6.13,18.35), (17.64,18.09,17.9,18.35), (30.09,18.7,30.35,18.96), (32.16,18.7,32.42,18.96), (52.43,18.7,52.69,18.96), (52.43,18.7,52.69,18.96), (72.7,18.7,72.96,18.96), (-12.47,18.84,-12.21,19.1), (35.16,19.45,35.42,19.71), (56.43,19.45,56.69,19.71), (56.43,19.45,56.69,19.71), (75.7,19.45,75.96,19.71), (80.09,19.45,80.35,19.71), (-14.7,19.59,-14.44,19.85), (41.66,20.2,41.92,20.46), (62.89,20.2,63.15,20.46), (62.89,20.2,63.15,20.46), (82.2,20.2,82.46,20.46), (-16.7,20.34,-16.44,20.6), (10.84,20.34,11.1,20.6), (31.09,20.95,31.35,21.21), (-18.7,21.09,-18.44,21.35), (8.84,21.09,9.1,21.35), (28.86,21.7,29.12,21.96), (26.86,22.45,27.12,22.71), (71.4,22.45,71.66,22.71), (24.86,23.2,25.12,23.46), (69.4,23.2,69.66,23.46)])
R(cp_array, metal3, [(55.34,-11.755,55.78,-11.315), (86.8,-11.755,87.24,-11.315), (55.39,-11.535,55.73,18.08), (86.85,-11.535,87.19,18.08), (-1.76,-11.32,-1.32,-10.88), (-1.71,-11.1,-1.37,15.97), (30,-10.965,30.44,-10.525), (80,-10.965,80.44,-10.525), (30.05,-10.745,30.39,18.83), (80.05,-10.745,80.39,19.58), (-4.76,-9.81,-4.32,-9.37), (7.24,-9.81,7.68,-9.37), (-4.71,-9.59,-4.37,15.97), (7.29,-9.59,7.63,15.97), (-13.56,-9.02,-13.12,-8.58), (4.44,-9.02,4.88,-8.58), (-13.51,-8.8,-13.17,16.72), (4.49,-8.8,4.83,17.47), (61.8,-8.665,62.24,-8.225), (61.85,-8.445,62.19,18.08), (34.07,-5.045,34.51,-4.605), (74.61,-5.045,75.05,-4.605), (34.12,-4.825,34.46,18.08), (74.66,-4.825,75,18.08), (-9.49,-4.23,-9.05,-3.79), (14.05,-4.23,14.49,-3.79), (28.77,-4.185,29.21,-3.745), (69.31,-4.185,69.75,-3.745), (-9.44,-4.01,-9.1,15.97), (14.1,-4.01,14.44,15.97), (28.82,-3.965,29.16,21.83), (69.36,-3.965,69.7,23.33), (-14.79,-3.37,-14.35,-2.93), (8.75,-3.37,9.19,-2.93), (-14.74,-3.15,-14.4,19.72), (8.8,-3.15,9.14,21.22), (31,-2.285,31.44,-1.845), (71.31,-2.285,71.75,-1.845), (31.05,-2.065,31.39,21.08), (71.36,-2.065,71.7,22.58), (32.07,-1.845,32.51,-1.405), (72.61,-1.845,73.05,-1.405), (32.12,-1.625,32.46,18.83), (72.66,-1.625,73,18.83), (-12.56,-1.47,-12.12,-1.03), (10.75,-1.47,11.19,-1.03), (-12.51,-1.25,-12.17,18.97), (10.8,-1.25,11.14,20.47), (35.07,-1.235,35.51,-0.795), (75.61,-1.235,76.05,-0.795), (-11.49,-1.03,-11.05,-0.59), (12.05,-1.03,12.49,-0.59), (35.12,-1.015,35.46,19.58), (75.66,-1.015,76,19.58), (-11.44,-0.81,-11.1,16.72), (12.1,-0.81,12.44,16.72), (41.57,-0.445,42.01,-0.005), (82.11,-0.445,82.55,-0.005), (2.28,-0.43,2.72,0.01), (54.34,-0.43,54.78,0.01), (-8.49,-0.42,-8.05,0.02), (15.05,-0.42,15.49,0.02), (41.62,-0.225,41.96,20.33), (82.16,-0.225,82.5,20.33), (2.33,-0.21,2.67,15.97), (54.39,-0.21,54.73,18.08), (-8.44,-0.2,-8.1,17.47), (15.1,-0.2,15.44,17.47), (-5.99,0.37,-5.55,0.81), (17.55,0.37,17.99,0.81), (-3.02,0.43,-2.58,0.87), (49.04,0.43,49.48,0.87), (-5.94,0.59,-5.6,18.22), (17.6,0.59,17.94,18.22), (-2.97,0.65,-2.63,15.97), (49.09,0.65,49.43,18.08), (-0.76,2.33,-0.32,2.77), (51.04,2.33,51.48,2.77), (-0.71,2.55,-0.37,15.22), (51.09,2.55,51.43,17.33), (0.28,2.77,0.72,3.21), (52.34,2.77,52.78,3.21), (0.33,2.99,0.67,16.72), (52.39,2.99,52.73,18.83), (3.28,3.38,3.72,3.82), (56.34,3.38,56.78,3.82), (3.33,3.6,3.67,17.47), (56.39,3.6,56.73,19.58), (5.78,4.17,6.22,4.61), (62.8,4.17,63.24,4.61), (5.83,4.39,6.17,18.22), (62.85,4.39,63.19,20.33), (2.28,7.17,2.72,7.61), (2.33,7.39,2.67,15.97), (-18.79,8.03,-18.35,8.47), (-18.74,8.25,-18.4,21.22), (54.34,8.8,54.78,9.24), (54.39,9.02,54.73,18.08), (24.77,9.66,25.21,10.1), (24.82,9.88,25.16,23.33), (-16.79,9.93,-16.35,10.37), (-16.74,10.15,-16.4,20.47), (0.28,10.37,0.72,10.81), (0.33,10.59,0.67,16.72), (3.28,10.98,3.72,11.42), (3.33,11.2,3.67,17.47), (26.77,11.56,27.21,12), (5.78,11.77,6.22,12.21), (26.82,11.78,27.16,22.58), (5.83,11.99,6.17,18.22), (52.34,12,52.78,12.44), (52.39,12.22,52.73,18.83), (56.34,12.61,56.78,13.05), (56.39,12.83,56.73,19.58), (62.8,13.4,63.24,13.84), (62.85,13.62,63.19,20.33), (-0.76,15,-0.32,15.44), (-9.49,15.75,-9.05,16.19), (-4.76,15.75,-4.32,16.19), (-3.02,15.75,-2.58,16.19), (-1.76,15.75,-1.32,16.19), (2.28,15.75,2.72,16.19), (2.28,15.75,2.72,16.19), (7.24,15.75,7.68,16.19), (14.05,15.75,14.49,16.19), (-13.56,16.5,-13.12,16.94), (-11.49,16.5,-11.05,16.94), (0.28,16.5,0.72,16.94), (0.28,16.5,0.72,16.94), (12.05,16.5,12.49,16.94), (51.04,17.11,51.48,17.55), (-8.49,17.25,-8.05,17.69), (3.28,17.25,3.72,17.69), (3.28,17.25,3.72,17.69), (4.44,17.25,4.88,17.69), (15.05,17.25,15.49,17.69), (34.07,17.86,34.51,18.3), (49.04,17.86,49.48,18.3), (54.34,17.86,54.78,18.3), (54.34,17.86,54.78,18.3), (55.34,17.86,55.78,18.3), (61.8,17.86,62.24,18.3), (74.61,17.86,75.05,18.3), (86.8,17.86,87.24,18.3), (-5.99,18,-5.55,18.44), (5.78,18,6.22,18.44), (5.78,18,6.22,18.44), (17.55,18,17.99,18.44), (30,18.61,30.44,19.05), (32.07,18.61,32.51,19.05), (52.34,18.61,52.78,19.05), (52.34,18.61,52.78,19.05), (72.61,18.61,73.05,19.05), (-12.56,18.75,-12.12,19.19), (35.07,19.36,35.51,19.8), (56.34,19.36,56.78,19.8), (56.34,19.36,56.78,19.8), (75.61,19.36,76.05,19.8), (80,19.36,80.44,19.8), (-14.79,19.5,-14.35,19.94), (41.57,20.11,42.01,20.55), (62.8,20.11,63.24,20.55), (62.8,20.11,63.24,20.55), (82.11,20.11,82.55,20.55), (-16.79,20.25,-16.35,20.69), (10.75,20.25,11.19,20.69), (31,20.86,31.44,21.3), (-18.79,21,-18.35,21.44), (8.75,21,9.19,21.44), (28.77,21.61,29.21,22.05), (26.77,22.36,27.21,22.8), (71.31,22.36,71.75,22.8), (24.77,23.11,25.21,23.55), (69.31,23.11,69.75,23.55)])
cp_array.add(gdstk.Label('VDD', (-0.8,2.55), layer=34, texttype=10))
cp_array.add(gdstk.Label('VSS', (-2.8,0.65), layer=34, texttype=10))
cp_array.add(gdstk.Label('IBN', (0.5,2.99), layer=34, texttype=10))
cp_array.add(gdstk.Label('ICN', (3.2,3.6), layer=34, texttype=10))
cp_array.add(gdstk.Label('DNT', (6,4.39), layer=34, texttype=10))
cp_array.add(gdstk.Label('B0', (-12.57,-1.25), layer=34, texttype=10))
cp_array.add(gdstk.Label('B0B', (-14.57,-3.15), layer=34, texttype=10))
cp_array.add(gdstk.Label('B1', (10.97,-1.25), layer=34, texttype=10))
cp_array.add(gdstk.Label('B1B', (8.97,-3.15), layer=34, texttype=10))
cp_array.add(gdstk.Label('VSS', (51.26,2.55), layer=34, texttype=10))
cp_array.add(gdstk.Label('VDD', (49.26,0.65), layer=34, texttype=10))
cp_array.add(gdstk.Label('IBP', (52.56,2.99), layer=34, texttype=10))
cp_array.add(gdstk.Label('ICP', (55.26,3.6), layer=34, texttype=10))
cp_array.add(gdstk.Label('UPT', (62.06,4.39), layer=34, texttype=10))
cp_array.add(gdstk.Label('B0B', (30.99,-2.065), layer=34, texttype=10))
cp_array.add(gdstk.Label('B0', (28.99,-3.965), layer=34, texttype=10))
cp_array.add(gdstk.Label('B1B', (71.53,-2.065), layer=34, texttype=10))
cp_array.add(gdstk.Label('B1', (69.53,-3.965), layer=34, texttype=10))

lib.write_gds('cp_array.gds')
